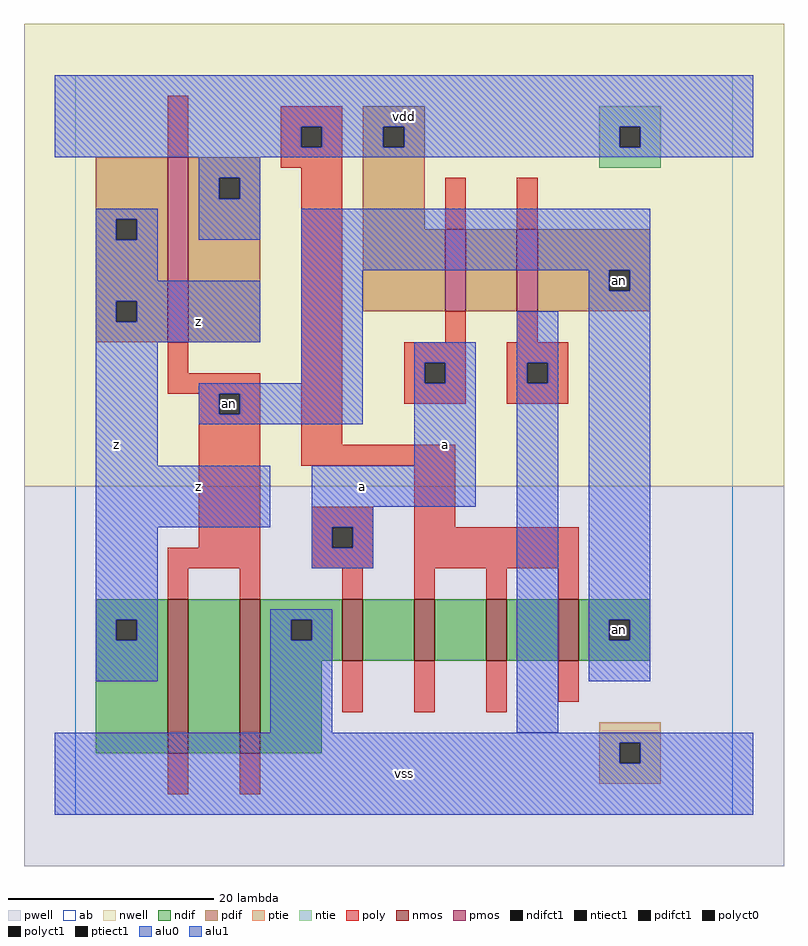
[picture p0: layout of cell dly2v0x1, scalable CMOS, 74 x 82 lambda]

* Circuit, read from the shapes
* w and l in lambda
.subckt dly2v0x1 a an vdd vss z
M1 n1 an z vss nfet w=15 l=2
M2 vss an n1 vss nfet w=15 l=2
M3 n2 a vss vss nfet w=6 l=2
M4 n3 vdd n2 vss nfet w=6 l=2
M5 n4 vdd n3 vss nfet w=6 l=2
M6 an vdd n4 vss nfet w=6 l=2
M7 vdd an z vdd pfet w=18 l=2
M8 n5 a vdd vdd pfet w=8 l=2
M9 an vss n5 vdd pfet w=8 l=2
.ends

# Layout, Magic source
magic
tech scmos
<< ab >>
rect 0 0 64 72
<< nwell >>
rect -5 32 69 77
<< pwell >>
rect -5 -5 69 32
<< poly >>
rect 9 64 11 70
rect 20 67 26 69
rect 20 65 22 67
rect 24 65 26 67
rect 20 63 26 65
rect 9 43 11 46
rect 9 41 18 43
rect 12 39 14 41
rect 16 39 18 41
rect 12 26 18 39
rect 22 36 26 63
rect 36 57 38 62
rect 43 57 45 62
rect 36 46 38 49
rect 43 46 45 49
rect 32 44 38 46
rect 32 42 34 44
rect 36 42 38 44
rect 32 40 38 42
rect 42 44 48 46
rect 42 42 44 44
rect 46 42 48 44
rect 42 40 48 42
rect 22 34 37 36
rect 9 24 18 26
rect 23 28 29 30
rect 23 26 25 28
rect 27 26 29 28
rect 23 24 29 26
rect 33 28 37 34
rect 33 24 49 28
rect 9 21 11 24
rect 16 21 18 24
rect 26 21 28 24
rect 33 21 35 24
rect 40 21 42 24
rect 47 21 49 24
rect 26 10 28 15
rect 33 10 35 15
rect 40 10 42 15
rect 47 11 49 15
rect 9 2 11 6
rect 16 2 18 6
<< ndif >>
rect 2 19 9 21
rect 2 17 4 19
rect 6 17 9 19
rect 2 6 9 17
rect 11 6 16 21
rect 18 19 26 21
rect 18 17 21 19
rect 23 17 26 19
rect 18 15 26 17
rect 28 15 33 21
rect 35 15 40 21
rect 42 15 47 21
rect 49 19 56 21
rect 49 17 52 19
rect 54 17 56 19
rect 49 15 56 17
rect 18 6 24 15
<< pdif >>
rect 2 58 9 64
rect 2 56 4 58
rect 6 56 9 58
rect 2 50 9 56
rect 2 48 4 50
rect 6 48 9 50
rect 2 46 9 48
rect 11 62 18 64
rect 11 60 14 62
rect 16 60 18 62
rect 11 46 18 60
rect 28 67 34 69
rect 28 65 30 67
rect 32 65 34 67
rect 28 57 34 65
rect 28 49 36 57
rect 38 49 43 57
rect 45 53 56 57
rect 45 51 52 53
rect 54 51 56 53
rect 45 49 56 51
<< alu1 >>
rect -2 67 66 72
rect -2 65 22 67
rect 24 65 30 67
rect 32 65 53 67
rect 55 65 66 67
rect -2 64 66 65
rect 12 62 18 64
rect 12 60 14 62
rect 16 60 18 62
rect 2 58 8 59
rect 2 56 4 58
rect 6 56 8 58
rect 12 56 18 60
rect 2 52 8 56
rect 22 53 56 59
rect 2 50 18 52
rect 2 48 4 50
rect 6 48 18 50
rect 2 46 18 48
rect 2 34 8 46
rect 22 42 28 53
rect 50 51 52 53
rect 54 51 56 53
rect 12 41 28 42
rect 12 39 14 41
rect 16 39 28 41
rect 12 38 28 39
rect 33 44 39 46
rect 33 42 34 44
rect 36 42 39 44
rect 33 34 39 42
rect 2 28 19 34
rect 23 30 39 34
rect 23 28 29 30
rect 2 19 8 28
rect 23 26 25 28
rect 27 26 29 28
rect 23 24 29 26
rect 2 17 4 19
rect 6 17 8 19
rect 2 13 8 17
rect 19 19 25 20
rect 19 17 21 19
rect 23 17 25 19
rect 19 8 25 17
rect 50 19 56 51
rect 50 17 52 19
rect 54 17 56 19
rect 50 13 56 17
rect -2 7 66 8
rect -2 5 53 7
rect 55 5 66 7
rect -2 0 66 5
<< ptie >>
rect 51 7 57 9
rect 51 5 53 7
rect 55 5 57 7
rect 51 3 57 5
<< ntie >>
rect 51 67 57 69
rect 51 65 53 67
rect 55 65 57 67
rect 51 63 57 65
<< nmos >>
rect 9 6 11 21
rect 16 6 18 21
rect 26 15 28 21
rect 33 15 35 21
rect 40 15 42 21
rect 47 15 49 21
<< pmos >>
rect 9 46 11 64
rect 36 49 38 57
rect 43 49 45 57
<< polyct0 >>
rect 44 42 46 44
<< polyct1 >>
rect 22 65 24 67
rect 14 39 16 41
rect 34 42 36 44
rect 25 26 27 28
<< ndifct1 >>
rect 4 17 6 19
rect 21 17 23 19
rect 52 17 54 19
<< ntiect1 >>
rect 53 65 55 67
<< ptiect1 >>
rect 53 5 55 7
<< pdifct1 >>
rect 4 56 6 58
rect 4 48 6 50
rect 14 60 16 62
rect 30 65 32 67
rect 52 51 54 53
<< alu0 >>
rect 43 44 47 49
rect 43 42 44 44
rect 46 42 47 44
rect 43 8 47 42
<< labels >>
rlabel polyct1 15 40 15 40 6 an
rlabel ndifct1 53 18 53 18 6 an
rlabel pdifct1 53 52 53 52 6 an
rlabel alu1 12 32 12 32 6 z
rlabel alu1 4 36 4 36 6 z
rlabel alu1 12 48 12 48 6 z
rlabel alu1 28 32 28 32 6 a
rlabel alu1 32 4 32 4 6 vss
rlabel alu1 36 36 36 36 6 a
rlabel alu1 32 68 32 68 6 vdd
<< end >>
